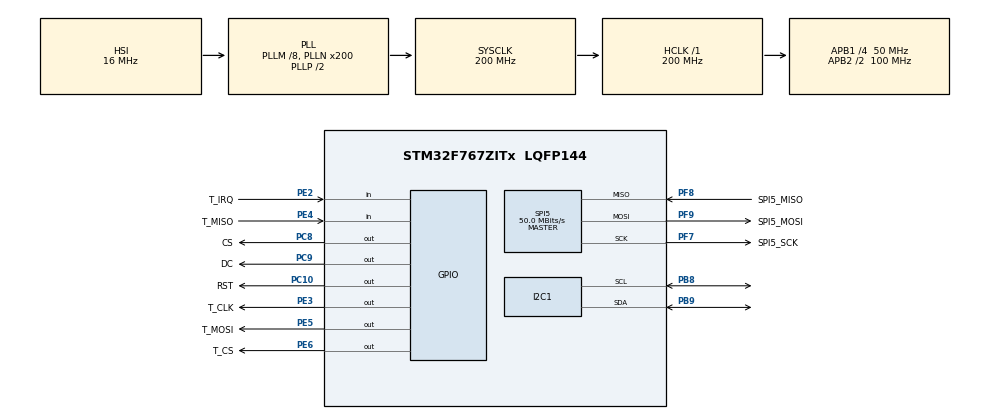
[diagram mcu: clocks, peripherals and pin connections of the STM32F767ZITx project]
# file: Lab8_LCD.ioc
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CORTEX_M7.ART_ACCELERATOR_ENABLE=1
CORTEX_M7.CPU_DCache=Enabled
CORTEX_M7.CPU_ICache=Enabled
CORTEX_M7.MPU_Control=__NULL
CORTEX_M7.PREFETCH_ENABLE=1
CORTEX_M7.default_mode_Activation=1
I2C1.Timing=0x00C0EAFF
Mcu.Family=STM32F7
Mcu.Name=STM32F767ZITx
Mcu.Package=LQFP144
NVIC.PriorityGroup=NVIC_PRIORITYGROUP_4
NVIC.TIM2_IRQn=true\:1\:0\:true\:false\:true\:true\:true\:true
PB8.Mode=I2C
PB8.Signal=I2C1_SCL
PB9.Mode=I2C
PB9.Signal=I2C1_SDA
PC10.GPIO_Label=RST
PC10.GPIO_Speed=GPIO_SPEED_FREQ_VERY_HIGH
PC10.Signal=GPIO_Output
PC8.GPIO_Label=CS
PC8.GPIO_Speed=GPIO_SPEED_FREQ_VERY_HIGH
PC8.Signal=GPIO_Output
PC9.GPIO_Label=DC
PC9.GPIO_Speed=GPIO_SPEED_FREQ_VERY_HIGH
PC9.Signal=GPIO_Output
PE2.GPIO_Label=T_IRQ
PE2.Signal=GPIO_Input
PE3.GPIO_Label=T_CLK
PE3.GPIO_Speed=GPIO_SPEED_FREQ_VERY_HIGH
PE3.Signal=GPIO_Output
PE4.GPIO_Label=T_MISO
PE4.Signal=GPIO_Input
PE5.GPIO_Label=T_MOSI
PE5.GPIO_Speed=GPIO_SPEED_FREQ_VERY_HIGH
PE5.Signal=GPIO_Output
PE6.GPIO_Label=T_CS
PE6.GPIO_Speed=GPIO_SPEED_FREQ_VERY_HIGH
PE6.Signal=GPIO_Output
PF7.GPIO_Label=SPI5_SCK
PF7.Mode=Full_Duplex_Master
PF7.Signal=SPI5_SCK
PF8.GPIO_Label=SPI5_MISO
PF8.Mode=Full_Duplex_Master
PF8.Signal=SPI5_MISO
PF9.GPIO_Label=SPI5_MOSI
PF9.Mode=Full_Duplex_Master
PF9.Signal=SPI5_MOSI
ProjectManager.HeapSize=0x200
ProjectManager.StackSize=0x400
ProjectManager.TargetToolchain=STM32CubeIDE
RCC.AHBFreq_Value=200000000
RCC.APB1CLKDivider=RCC_HCLK_DIV4
RCC.APB1Freq_Value=50000000
RCC.APB1TimFreq_Value=100000000
RCC.APB2CLKDivider=RCC_HCLK_DIV2
RCC.APB2Freq_Value=100000000
RCC.APB2TimFreq_Value=200000000
RCC.CortexFreq_Value=200000000
RCC.HCLKFreq_Value=200000000
RCC.HSE_VALUE=25000000
RCC.HSI_VALUE=16000000
RCC.LSE_VALUE=32768
RCC.PLLM=8
RCC.PLLN=200
RCC.PLLQ=9
RCC.SYSCLKFreq_VALUE=200000000
RCC.SYSCLKSource=RCC_SYSCLKSOURCE_PLLCLK
RCC.USBFreq_Value=44444444.44444445
RCC.VCOOutputFreq_Value=400000000
SPI5.CalculateBaudRate=50.0 MBits/s
SPI5.DataSize=SPI_DATASIZE_8BIT
SPI5.Direction=SPI_DIRECTION_2LINES
SPI5.Mode=SPI_MODE_MASTER
SPI5.NSSPMode=SPI_NSS_PULSE_DISABLE
SPI5.VirtualType=VM_MASTER
TIM2.Period=500000-1
TIM2.Prescaler=1000-1
VP_RNG_VS_RNG.Mode=RNG_Activate
VP_TIM2_VS_ClockSourceINT.Mode=Internal
board=custom

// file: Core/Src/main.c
/* USER CODE BEGIN Header */
/**
  ******************************************************************************
  * @file           : main.c
  * @brief          : Main program body
  ******************************************************************************
  * @attention
  *
  * Copyright (c) 2025 STMicroelectronics.
  * All rights reserved.
  *
  * This software is licensed under terms that can be found in the LICENSE file
  * in the root directory of this software component.
  * If no LICENSE file comes with this software, it is provided AS-IS.
  *
  ******************************************************************************
  */
/* USER CODE END Header */
#include "main.h"
#include "i2c.h"
#include "rng.h"
#include "spi.h"
#include "tim.h"
#include "gpio.h"

/* USER CODE BEGIN Includes */
#include <5x5_font.h>
#include <ILI9341_GFX.h>
#include <ILI9341_STM32_Driver.h>
#include <ILI9341_Touchscreen.h>
#include <stdio.h>
#include <string.h>
#include "snow_tiger.h"
/* USER CODE END Includes */

/* USER CODE BEGIN PD */
#define MARGIN_X 50
#define MARGIN_Y 30
/* USER CODE END PD */

/* USER CODE BEGIN PV */
const uint16_t TEXT_SIZE = 2;
const uint16_t BG_COLOR = WHITE;
const uint16_t TEXT_COLOR = BLACK;

extern volatile uint16_t LCD_HEIGHT;
extern volatile uint16_t LCD_WIDTH;

const uint16_t TOP_CIRCLE_RADIUS = 20;
uint16_t topCircleX;
uint16_t topCircleY;
uint16_t topCircleColor = 0;

uint16_t redCircleX;
uint16_t redCircleY;
uint16_t greenCircleX;
uint16_t greenCircleY;
uint16_t blueCircleX;
uint16_t blueCircleY;

uint16_t redPercentage = 0;
uint16_t greenPercentage = 0;
uint16_t bluePercentage = 0;

const uint16_t RGB_CIRCLE_RADIUS = 15;

uint16_t imgX1 = 10;
uint16_t imgX2 = 138;
uint16_t imgY1 = 55;
uint16_t imgY2 = 168;
uint16_t p2TextX = 130;

float h=0.0, t=0.0;
uint8_t step = 0;
HAL_StatusTypeDef status;

int page = 0;
/* USER CODE END PV */

void SystemClock_Config(void);
/* USER CODE BEGIN PFP */
uint16_t CRC16_2(uint8_t *, uint8_t);
uint16_t getMixedColor(int redPercentage, int greenPercentage, int bluePercentage);
int checkCircleHit(int touchX, int touchY, int circleCenterX, int circleCenterY, int circleRadius);
void drawTopBar(float tempPercentage, uint16_t circleColor, float humidityPercentage);
void drawRGBBar(int redPercentage, int greenPercentage, int bluePercentage);
void drawImage(int x, int y, int width, int height, int channel, const uint8_t* imageData);
/* USER CODE END PFP */

int main(void)
{

  /* Enable the CPU Cache */

  /* Enable I-Cache---------------------------------------------------------*/
  SCB_EnableICache();

  /* Enable D-Cache---------------------------------------------------------*/
  SCB_EnableDCache();

  /* MCU Configuration--------------------------------------------------------*/

  /* Reset of all peripherals, Initializes the Flash interface and the Systick. */
  HAL_Init();

  /* Configure the system clock */
  SystemClock_Config();

  /* Initialize all configured peripherals */
  MX_GPIO_Init();
  MX_SPI5_Init();
  MX_RNG_Init();
  MX_I2C1_Init();
  MX_TIM2_Init();
  /* USER CODE BEGIN 2 */
  ILI9341_Init();
  uint8_t cmdBuffer[3];
  uint8_t dataBuffer[8];
  cmdBuffer[0] = 0x03;
  cmdBuffer[1] = 0x00;
  cmdBuffer[2] = 0x04;
  /* USER CODE END 2 */

  /* Infinite loop */
  /* USER CODE BEGIN WHILE */
  ILI9341_Set_Rotation(SCREEN_HORIZONTAL_2);
  ILI9341_Fill_Screen(WHITE);
  topCircleX = LCD_WIDTH/2;
  topCircleY = MARGIN_Y + CHAR_HEIGHT * TEXT_SIZE/2;
//  drawTopBar(t, topCircleColor, h);
  while (1)
  {
    /* USER CODE END WHILE */

    /* USER CODE BEGIN 3 */
	  HAL_I2C_Master_Transmit(&hi2c1, 0x5C<<1, cmdBuffer, 3, 200); // Wake up sensor
	  HAL_I2C_Master_Transmit(&hi2c1, 0x5C<<1, cmdBuffer, 3, 200); // Send reading command

	  HAL_Delay(1);

	  if (page == 0){
		  HAL_I2C_Master_Receive(&hi2c1, 0x5C<<1, dataBuffer, 8, 200);
		  uint16_t Rcrc = dataBuffer[7] << 8;
		  Rcrc += dataBuffer[6];
		  if (Rcrc == CRC16_2(dataBuffer, 6)) {
			  uint16_t temperature = ((dataBuffer[4] & 0x7F) << 8) + dataBuffer[5];
			  t = temperature / 10.0;
			  t = (((dataBuffer[4] & 0x80) >> 7) == 1) ? (t * -1) : t;

			  uint16_t humidity = (dataBuffer[2] << 8) + dataBuffer[3];
			  h = humidity/10.0;

			  uint16_t topCircleColor = getMixedColor(redPercentage, greenPercentage, bluePercentage);
			  HAL_Delay(1);
			  drawTopBar(t, topCircleColor, h);
		  }

		  uint16_t topCircleColor = getMixedColor(redPercentage, greenPercentage, bluePercentage);
		  drawTopBar(t, topCircleColor, h);
		  drawRGBBar(redPercentage, greenPercentage, bluePercentage);

		  if (TP_Touchpad_Pressed()){
			  uint16_t x_pos = 0;
			  uint16_t y_pos = 0;

			  uint16_t position_array[2];
			  if (TP_Read_Coordinates(position_array) == TOUCHPAD_DATA_OK){
				  x_pos = LCD_WIDTH - position_array[1];
				  y_pos = position_array[0];
			  }

			  if (checkCircleHit(x_pos, y_pos, redCircleX, redCircleY, RGB_CIRCLE_RADIUS)){
				  redPercentage += 10;
				  redPercentage %= 110;
				  drawRGBBar(redPercentage, greenPercentage, bluePercentage);
			  }

			  if (checkCircleHit(x_pos, y_pos, greenCircleX, greenCircleY, RGB_CIRCLE_RADIUS)){
				  greenPercentage += 10;
				  greenPercentage %= 110;
				  drawRGBBar(redPercentage, greenPercentage, bluePercentage);
			  }

			  if (checkCircleHit(x_pos, y_pos, blueCircleX, blueCircleY, RGB_CIRCLE_RADIUS)){
				  bluePercentage += 10;
				  bluePercentage %= 110;
				  drawRGBBar(redPercentage, greenPercentage, bluePercentage);
			  }

			  if (checkCircleHit(x_pos, y_pos, topCircleX, topCircleY, TOP_CIRCLE_RADIUS)){
				  page = 1;
				  ILI9341_Fill_Screen(WHITE);
				  ILI9341_Draw_Image((const char*)customIMG, SCREEN_HORIZONTAL_2);
				  ILI9341_Draw_Text("Group No.40", p2TextX, 55, topCircleColor, TEXT_SIZE, BG_COLOR);
				  ILI9341_Draw_Text("Pasut", p2TextX, 85, topCircleColor, TEXT_SIZE, BG_COLOR);
				  ILI9341_Draw_Text("Siriwan", p2TextX, 115, topCircleColor, TEXT_SIZE, BG_COLOR);
				  ILI9341_Draw_Text("66010544", p2TextX, 145, topCircleColor, TEXT_SIZE, BG_COLOR);
				  HAL_TIM_Base_Start_IT(&htim2);
			  }
		  }
	  } else if (page == 1){

		  if (TP_Touchpad_Pressed()) {
			  uint16_t x_pos = 0;
			  uint16_t y_pos = 0;
			  uint16_t position_array[2];
			  if (TP_Read_Coordinates(position_array) == TOUCHPAD_DATA_OK){
				  x_pos = LCD_WIDTH - position_array[1];
				  y_pos = position_array[0];
			  }

			  if (x_pos > imgX1 && x_pos < imgX2 && y_pos > imgY1 && y_pos < imgY2){
				  page = 0;
				  ILI9341_Fill_Screen(WHITE);
				  HAL_TIM_Base_Stop_IT(&htim2);
				  __HAL_TIM_SET_COUNTER(&htim2, 0);
			  }
		  }
	  }

  }
  /* USER CODE END 3 */
}

void SystemClock_Config(void)
{
  RCC_OscInitTypeDef RCC_OscInitStruct = {0};
  RCC_ClkInitTypeDef RCC_ClkInitStruct = {0};

  /** Configure the main internal regulator output voltage
  */
  __HAL_RCC_PWR_CLK_ENABLE();
  __HAL_PWR_VOLTAGESCALING_CONFIG(PWR_REGULATOR_VOLTAGE_SCALE1);

  /** Initializes the RCC Oscillators according to the specified parameters
  * in the RCC_OscInitTypeDef structure.
  */
  RCC_OscInitStruct.OscillatorType = RCC_OSCILLATORTYPE_HSI;
  RCC_OscInitStruct.HSIState = RCC_HSI_ON;
  RCC_OscInitStruct.HSICalibrationValue = RCC_HSICALIBRATION_DEFAULT;
  RCC_OscInitStruct.PLL.PLLState = RCC_PLL_ON;
  RCC_OscInitStruct.PLL.PLLSource = RCC_PLLSOURCE_HSI;
  RCC_OscInitStruct.PLL.PLLM = 8;
  RCC_OscInitStruct.PLL.PLLN = 200;
  RCC_OscInitStruct.PLL.PLLP = RCC_PLLP_DIV2;
  RCC_OscInitStruct.PLL.PLLQ = 9;
  RCC_OscInitStruct.PLL.PLLR = 2;
  if (HAL_RCC_OscConfig(&RCC_OscInitStruct) != HAL_OK)
  {
    Error_Handler();
  }

  /** Activate the Over-Drive mode
  */
  if (HAL_PWREx_EnableOverDrive() != HAL_OK)
  {
    Error_Handler();
  }

  /** Initializes the CPU, AHB and APB buses clocks
  */
  RCC_ClkInitStruct.ClockType = RCC_CLOCKTYPE_HCLK|RCC_CLOCKTYPE_SYSCLK
                              |RCC_CLOCKTYPE_PCLK1|RCC_CLOCKTYPE_PCLK2;
  RCC_ClkInitStruct.SYSCLKSource = RCC_SYSCLKSOURCE_PLLCLK;
  RCC_ClkInitStruct.AHBCLKDivider = RCC_SYSCLK_DIV1;
  RCC_ClkInitStruct.APB1CLKDivider = RCC_HCLK_DIV4;
  RCC_ClkInitStruct.APB2CLKDivider = RCC_HCLK_DIV2;

  if (HAL_RCC_ClockConfig(&RCC_ClkInitStruct, FLASH_LATENCY_6) != HAL_OK)
  {
    Error_Handler();
  }
}

/* USER CODE BEGIN 4 */
uint16_t CRC16_2(uint8_t *ptr, uint8_t length){
	uint16_t crc = 0xFFFF;
	uint8_t s = 0x00;

	while (length--) {
		crc ^= *ptr++;
		for(s = 0; s < 8; s++){
			if ((crc & 0x01) != 0){
				crc >>= 1;
				crc ^= 0xA001;
			} else crc >>= 1;
		}
	}

	return crc;
}

uint16_t getMixedColor(int redPercentage, int greenPercentage, int bluePercentage){
	int r = (redPercentage * 31) / 100;
	int g = (greenPercentage * 63) / 100;
	int b = (bluePercentage * 31) / 100;

	return (r << 11) | (g << 5) | b;
}

int checkCircleHit(int touchX, int touchY, int circleCenterX, int circleCenterY, int circleRadius){
	int containX = (touchX > circleCenterX - circleRadius) && (touchX < circleCenterX + circleRadius);
	int containY = (touchY > circleCenterY - circleRadius) && (touchY < circleCenterY + circleRadius);
	return containX && containY;
}

void drawTopBar(float tempPercentage, uint16_t circleColor, float humidityPercentage){
    char tempText[10];
    sprintf(tempText, "%.1fC", tempPercentage);

    char humidText[10];
    sprintf(humidText, "%.1f%%RH", humidityPercentage);

    int tempWidth = strlen(tempText) * CHAR_WIDTH * TEXT_SIZE;
    int tempX = MARGIN_X;
    int tempY = MARGIN_Y;

    ILI9341_Draw_Text(tempText, tempX, tempY, TEXT_COLOR, TEXT_SIZE, BG_COLOR);

    int margin = 15;
    topCircleX = tempX + tempWidth + TOP_CIRCLE_RADIUS + margin;

    ILI9341_Draw_Filled_Circle(topCircleX, topCircleY, TOP_CIRCLE_RADIUS, circleColor);

    int humidX = topCircleX + TOP_CIRCLE_RADIUS + margin;
    int humidY = MARGIN_Y;

    ILI9341_Draw_Text(humidText, humidX, humidY, TEXT_COLOR, TEXT_SIZE, BG_COLOR);
}

void drawRGBBar(int redPercentage, int greenPercentage, int bluePercentage){
	char redPercentageText[10];
	char greenPercentageText[10];
	char bluePercentageText[10];

	sprintf(redPercentageText, "%d%%  ", redPercentage);
	sprintf(greenPercentageText, "%d%%  ", greenPercentage);
	sprintf(bluePercentageText, "%d%%  ", bluePercentage);

	const int TOP_MARGIN = 30;
	const int START_Y = topCircleY + TOP_CIRCLE_RADIUS + TOP_MARGIN;
	const int PADDING_X = 10;
	const int PADDING_Y = 20;
	const int BAR_WIDTH = 120;
	const int BAR_HEIGHT = 30;
	const int Y_DIFF = PADDING_Y + BAR_HEIGHT;
	const int BAR_WIDTH_STEP = BAR_WIDTH / 10;

	const uint16_t RED_BACK = (31 << 11) | (59 << 5) | 29;	// 00000 000000 00000
	const uint16_t GREEN_BACK = (29 << 11) | (63 << 5) | 29;
	const uint16_t BLUE_BACK = (29 << 11) | (59 << 5) | 31;

	redCircleX = MARGIN_X;
	redCircleY = START_Y + RGB_CIRCLE_RADIUS;

	int redBarStartX = redCircleX + RGB_CIRCLE_RADIUS + PADDING_X;
	int redBarStartY = START_Y;
	int redFrontWidth = redPercentage/10 * BAR_WIDTH_STEP;

	greenCircleX = MARGIN_X;
	greenCircleY = redCircleY + Y_DIFF;

	int greenBarStartX = greenCircleX + RGB_CIRCLE_RADIUS + PADDING_X;
	int greenBarStartY = redBarStartY + Y_DIFF;
	int greenFrontWidth = greenPercentage/10 * BAR_WIDTH_STEP;

	blueCircleX = MARGIN_X;
	blueCircleY = greenCircleY + Y_DIFF;

	int blueBarStartX = blueCircleX + RGB_CIRCLE_RADIUS + PADDING_X;
	int blueBarStartY = greenBarStartY + Y_DIFF;
	int blueFrontWidth = bluePercentage/10 * BAR_WIDTH_STEP;

	ILI9341_Draw_Filled_Circle(redCircleX, redCircleY, RGB_CIRCLE_RADIUS, RED);
	ILI9341_Draw_Filled_Rectangle_Coord(redBarStartX, redBarStartY, redBarStartX + BAR_WIDTH, redBarStartY + BAR_HEIGHT, RED_BACK);
	ILI9341_Draw_Filled_Rectangle_Coord(redBarStartX, redBarStartY, redBarStartX + redFrontWidth, redBarStartY + BAR_HEIGHT, RED);
	ILI9341_Draw_Text(redPercentageText, redBarStartX + BAR_WIDTH + PADDING_X, redBarStartY, TEXT_COLOR, TEXT_SIZE, BG_COLOR);

	ILI9341_Draw_Filled_Circle(greenCircleX, greenCircleY, RGB_CIRCLE_RADIUS, GREEN);
	ILI9341_Draw_Filled_Rectangle_Coord(greenBarStartX, greenBarStartY, greenBarStartX + BAR_WIDTH, greenBarStartY + BAR_HEIGHT, GREEN_BACK);
	ILI9341_Draw_Filled_Rectangle_Coord(greenBarStartX, greenBarStartY, greenBarStartX + greenFrontWidth, greenBarStartY + BAR_HEIGHT, GREEN);
	ILI9341_Draw_Text(greenPercentageText, greenBarStartX + BAR_WIDTH + PADDING_X, greenBarStartY, TEXT_COLOR, TEXT_SIZE, BG_COLOR);

	ILI9341_Draw_Filled_Circle(blueCircleX, blueCircleY, RGB_CIRCLE_RADIUS, BLUE);
	ILI9341_Draw_Filled_Rectangle_Coord(blueBarStartX, blueBarStartY, blueBarStartX + BAR_WIDTH, blueBarStartY + BAR_HEIGHT, BLUE_BACK);
	ILI9341_Draw_Filled_Rectangle_Coord(blueBarStartX, blueBarStartY, blueBarStartX + blueFrontWidth, blueBarStartY + BAR_HEIGHT, BLUE);
	ILI9341_Draw_Text(bluePercentageText, blueBarStartX + BAR_WIDTH + PADDING_X, blueBarStartY, TEXT_COLOR, TEXT_SIZE, BG_COLOR);
}

void drawImage(int x, int y, int width, int height, int channel, const uint8_t* imageData) {
    for (int j = 0; j < height; j++) {
        for (int i = 0; i < width; i++) {
            int index = (j * width + i) * channel;

            uint8_t r = imageData[index];
            uint8_t g = imageData[index + 1];
            uint8_t b = imageData[index + 2];

            uint16_t color = ((r & 0xF8) << 8) |   // R (5 bits)
                             ((g & 0xFC) << 3) |   // G (6 bits)
                             (b >> 3);             // B (5 bits)

            ILI9341_Draw_Pixel(x+i, y+j, color);
        }
    }
}

/* USER CODE END 4 */

void Error_Handler(void)
{
  __disable_irq();
  while (1)
  {
  }
}
